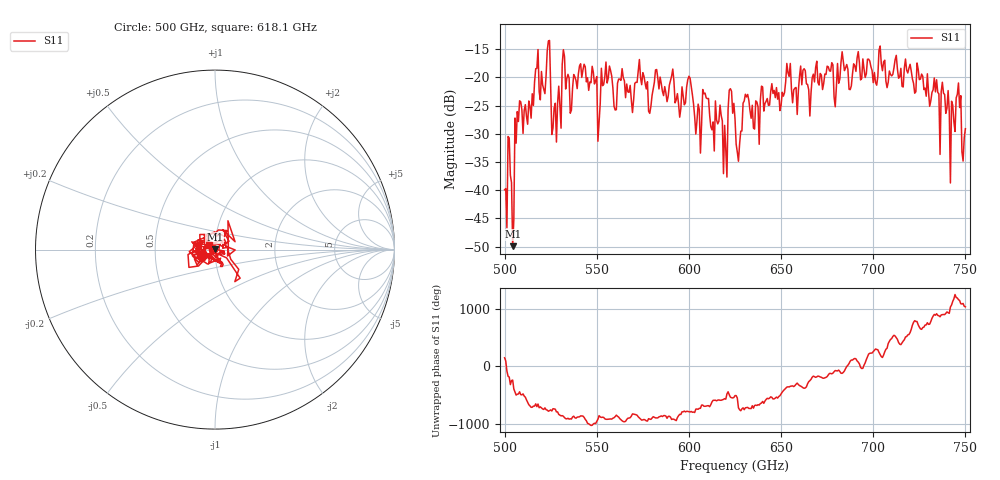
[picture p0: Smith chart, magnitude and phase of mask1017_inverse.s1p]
!Created with skrf (http://scikit-rf.org).
# GHz S MA R 50.0
!freq magS11 angS11
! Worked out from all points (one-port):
!   401 points, 500 GHz to 750 GHz, reference 50 ohm
!   lowest |S11| = -49.9 dB at 504.4 GHz (marker M1), VSWR 1.01, Z = 49.8 + j0.268 ohm
!   |S11| at or under -10 dB: start of sweep to end of sweep
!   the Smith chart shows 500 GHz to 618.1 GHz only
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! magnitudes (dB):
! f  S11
! 500 GHz  -39.9
! 504.4 GHz  -49.9
! 508.1 GHz  -24.2
! 523.8 GHz  -13.6
! 526.9 GHz  -25.4
! 531.2 GHz  -17.7
! 548.8 GHz  -21.2
! 550.6 GHz  -31.3
! 553.8 GHz  -21.3
! 560 GHz  -25.8
! 562.5 GHz  -20.3
! 579.4 GHz  -25.1
! 590.6 GHz  -19.8
! 593.8 GHz  -22.9
! 600 GHz  -19.8
! 605 GHz  -24.8
! 608.8 GHz  -22.8
! 619.4 GHz  -28.5
! 623.1 GHz  -22.5
! 625 GHz  -27.3
! 626.9 GHz  -34.9
! 630.6 GHz  -23.0
! 656.2 GHz  -24.5
! 687.5 GHz  -22.2
! 718.8 GHz  -19.2
! 743.1 GHz  -24.9
! 746.2 GHz  -21.0
! 750 GHz  -29.1
